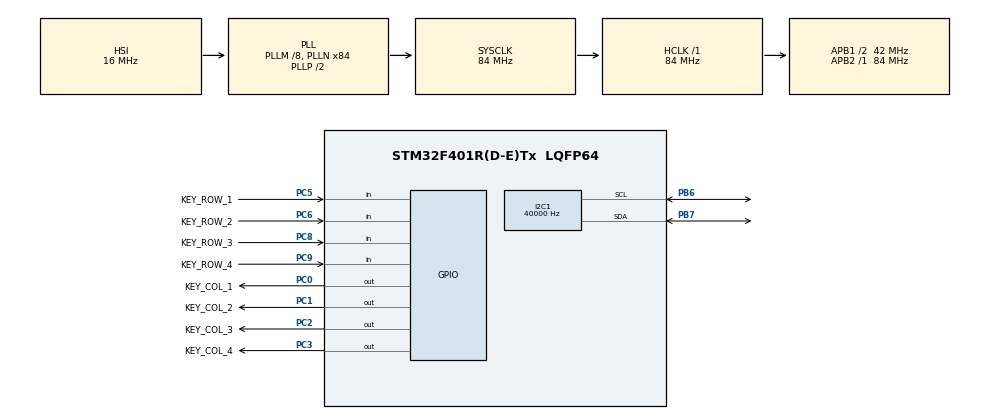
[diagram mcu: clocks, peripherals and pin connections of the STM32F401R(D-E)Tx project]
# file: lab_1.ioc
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I2C1.ClockSpeed=40000
Mcu.Family=STM32F4
Mcu.Name=STM32F401R(D-E)Tx
Mcu.Package=LQFP64
NVIC.PriorityGroup=NVIC_PRIORITYGROUP_4
PA13.Mode=Trace_Asynchronous_SW
PA13.Signal=SYS_JTMS-SWDIO
PA14.Mode=Trace_Asynchronous_SW
PA14.Signal=SYS_JTCK-SWCLK
PB3.Mode=Trace_Asynchronous_SW
PB3.Signal=SYS_JTDO-SWO
PB6.Mode=I2C
PB6.Signal=I2C1_SCL
PB7.Mode=I2C
PB7.Signal=I2C1_SDA
PC0.GPIO_Label=KEY_COL_1
PC0.Signal=GPIO_Output
PC1.GPIO_Label=KEY_COL_2
PC1.Signal=GPIO_Output
PC2.GPIO_Label=KEY_COL_3
PC2.Signal=GPIO_Output
PC3.GPIO_Label=KEY_COL_4
PC3.Signal=GPIO_Output
PC5.GPIO_Label=KEY_ROW_1
PC5.GPIO_PuPd=GPIO_PULLUP
PC5.Signal=GPIO_Input
PC6.GPIO_Label=KEY_ROW_2
PC6.GPIO_PuPd=GPIO_PULLUP
PC6.Signal=GPIO_Input
PC8.GPIO_Label=KEY_ROW_3
PC8.GPIO_PuPd=GPIO_PULLUP
PC8.Signal=GPIO_Input
PC9.GPIO_Label=KEY_ROW_4
PC9.GPIO_PuPd=GPIO_PULLUP
PC9.Signal=GPIO_Input
PH0\ -\ OSC_IN.Mode=HSE-External-Oscillator
PH0\ -\ OSC_IN.Signal=RCC_OSC_IN
PH1\ -\ OSC_OUT.Mode=HSE-External-Oscillator
PH1\ -\ OSC_OUT.Signal=RCC_OSC_OUT
ProjectManager.HeapSize=0x200
ProjectManager.StackSize=0x400
ProjectManager.TargetToolchain=STM32CubeIDE
RCC.48MHZClocksFreq_Value=42000000
RCC.AHBFreq_Value=84000000
RCC.APB1CLKDivider=RCC_HCLK_DIV2
RCC.APB1Freq_Value=42000000
RCC.APB1TimFreq_Value=84000000
RCC.APB2Freq_Value=84000000
RCC.APB2TimFreq_Value=84000000
RCC.CortexFreq_Value=84000000
RCC.HCLKFreq_Value=84000000
RCC.HSE_VALUE=16000000
RCC.HSI_VALUE=16000000
RCC.LSE_VALUE=32768
RCC.PLLM=8
RCC.PLLN=84
RCC.SYSCLKFreq_VALUE=84000000
RCC.SYSCLKSource=RCC_SYSCLKSOURCE_PLLCLK
RCC.VCOOutputFreq_Value=168000000
board=custom

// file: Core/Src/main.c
/* USER CODE BEGIN Header */
/**
 ******************************************************************************
 * @file           : main.c
 * @brief          : Main program body
 ******************************************************************************
 * @attention
 *
 * Copyright (c) 2026 STMicroelectronics.
 * All rights reserved.
 *
 * This software is licensed under terms that can be found in the LICENSE file
 * in the root directory of this software component.
 * If no LICENSE file comes with this software, it is provided AS-IS.
 *
 ******************************************************************************
 */
/* USER CODE END Header */
#include "main.h"

/* USER CODE BEGIN Includes */
#include<stdio.h>
#include "ssd1306.h"
#include "ssd1306_tests.h"
#include "ssd1306_fonts.h"
/* USER CODE END Includes */

I2C_HandleTypeDef hi2c1;

void SystemClock_Config(void);
static void MX_GPIO_Init(void);
static void MX_I2C1_Init(void);

int main(void)
{

  /* USER CODE BEGIN 1 */
	char keypadMap[4][4] = {
			{'1','2','3','A'},
			{'4','5','6','B'},
			{'7','8','9','C'},
			{'*','0','#','D'}
	};

	void updatetRowsPinState(GPIO_PinState *rows) {
	    rows[0] = HAL_GPIO_ReadPin(KEY_ROW_1_GPIO_Port, KEY_ROW_1_Pin);
	    rows[1] = HAL_GPIO_ReadPin(KEY_ROW_2_GPIO_Port, KEY_ROW_2_Pin);
	    rows[2] = HAL_GPIO_ReadPin(KEY_ROW_3_GPIO_Port, KEY_ROW_3_Pin);
	    rows[3] = HAL_GPIO_ReadPin(KEY_ROW_4_GPIO_Port, KEY_ROW_4_Pin);
	}

	void readKeypad(void) {
	    char keypadMap[4][4] = {
	        {'1', '2', '3', 'A'},
	        {'4', '5', '6', 'B'},
	        {'7', '8', '9', 'C'},
	        {'*', '0', '#', 'D'}
	    };

	    GPIO_TypeDef* colPorts[4] = { KEY_COL_1_GPIO_Port, KEY_COL_2_GPIO_Port, KEY_COL_3_GPIO_Port, KEY_COL_4_GPIO_Port };
	    uint16_t colPins[4]     = { KEY_COL_1_Pin, KEY_COL_2_Pin, KEY_COL_3_Pin, KEY_COL_4_Pin };

	    GPIO_TypeDef* rowPorts[4] = { KEY_ROW_2_GPIO_Port, KEY_ROW_3_GPIO_Port, KEY_ROW_4_GPIO_Port, KEY_ROW_1_GPIO_Port };
	    uint16_t rowPins[4]     = { KEY_ROW_2_Pin, KEY_ROW_3_Pin, KEY_ROW_4_Pin, KEY_ROW_1_Pin };

	    for (uint8_t i = 0; i < 4; i++) {
	        HAL_GPIO_WritePin(colPorts[i], colPins[i], GPIO_PIN_SET);
	    }

	    // col scan
	    for (uint8_t c = 0; c < 4; c++) {
	        HAL_GPIO_WritePin(colPorts[c], colPins[c], GPIO_PIN_RESET);

	        for (uint8_t r = 0; r < 4; r++) {
	            if (HAL_GPIO_ReadPin(rowPorts[r], rowPins[r]) == GPIO_PIN_RESET) {
	                //col back to 1
	                HAL_GPIO_WritePin(colPorts[c], colPins[c], GPIO_PIN_SET);
					ssd1306_Fill(Black);

					ssd1306_SetCursor(0, 0);

					ssd1306_WriteChar(keypadMap[r][c], Font_16x24, White);

					ssd1306_UpdateScreen();
	            }
	        }

	        //back to 1
	        HAL_GPIO_WritePin(colPorts[c], colPins[c], GPIO_PIN_SET);
	    }
	}

  /* USER CODE END 1 */

  /* MCU Configuration--------------------------------------------------------*/

  /* Reset of all peripherals, Initializes the Flash interface and the Systick. */
  HAL_Init();

  /* Configure the system clock */
  SystemClock_Config();

  /* Initialize all configured peripherals */
  MX_GPIO_Init();
  MX_I2C1_Init();
  /* USER CODE BEGIN 2 */
	ssd1306_Init();
  /* USER CODE END 2 */

  /* Infinite loop */
	while (1) {
		readKeypad();
 		HAL_Delay(100);
	}
}

void SystemClock_Config(void)
{
  RCC_OscInitTypeDef RCC_OscInitStruct = {0};
  RCC_ClkInitTypeDef RCC_ClkInitStruct = {0};

  /** Configure the main internal regulator output voltage
  */
  __HAL_RCC_PWR_CLK_ENABLE();
  __HAL_PWR_VOLTAGESCALING_CONFIG(PWR_REGULATOR_VOLTAGE_SCALE2);

  /** Initializes the RCC Oscillators according to the specified parameters
  * in the RCC_OscInitTypeDef structure.
  */
  RCC_OscInitStruct.OscillatorType = RCC_OSCILLATORTYPE_HSI;
  RCC_OscInitStruct.HSIState = RCC_HSI_ON;
  RCC_OscInitStruct.HSICalibrationValue = RCC_HSICALIBRATION_DEFAULT;
  RCC_OscInitStruct.PLL.PLLState = RCC_PLL_ON;
  RCC_OscInitStruct.PLL.PLLSource = RCC_PLLSOURCE_HSI;
  RCC_OscInitStruct.PLL.PLLM = 8;
  RCC_OscInitStruct.PLL.PLLN = 84;
  RCC_OscInitStruct.PLL.PLLP = RCC_PLLP_DIV2;
  RCC_OscInitStruct.PLL.PLLQ = 4;
  if (HAL_RCC_OscConfig(&RCC_OscInitStruct) != HAL_OK)
  {
    Error_Handler();
  }

  /** Initializes the CPU, AHB and APB buses clocks
  */
  RCC_ClkInitStruct.ClockType = RCC_CLOCKTYPE_HCLK|RCC_CLOCKTYPE_SYSCLK
                              |RCC_CLOCKTYPE_PCLK1|RCC_CLOCKTYPE_PCLK2;
  RCC_ClkInitStruct.SYSCLKSource = RCC_SYSCLKSOURCE_PLLCLK;
  RCC_ClkInitStruct.AHBCLKDivider = RCC_SYSCLK_DIV1;
  RCC_ClkInitStruct.APB1CLKDivider = RCC_HCLK_DIV2;
  RCC_ClkInitStruct.APB2CLKDivider = RCC_HCLK_DIV1;

  if (HAL_RCC_ClockConfig(&RCC_ClkInitStruct, FLASH_LATENCY_2) != HAL_OK)
  {
    Error_Handler();
  }
}

static void MX_I2C1_Init(void)
{

  hi2c1.Instance = I2C1;
  hi2c1.Init.ClockSpeed = 40000;
  hi2c1.Init.DutyCycle = I2C_DUTYCYCLE_2;
  hi2c1.Init.OwnAddress1 = 0;
  hi2c1.Init.AddressingMode = I2C_ADDRESSINGMODE_7BIT;
  hi2c1.Init.DualAddressMode = I2C_DUALADDRESS_DISABLE;
  hi2c1.Init.OwnAddress2 = 0;
  hi2c1.Init.GeneralCallMode = I2C_GENERALCALL_DISABLE;
  hi2c1.Init.NoStretchMode = I2C_NOSTRETCH_DISABLE;
  if (HAL_I2C_Init(&hi2c1) != HAL_OK)
  {
    Error_Handler();
  }

}

static void MX_GPIO_Init(void)
{
  GPIO_InitTypeDef GPIO_InitStruct = {0};

  /* GPIO Ports Clock Enable */
  __HAL_RCC_GPIOH_CLK_ENABLE();
  __HAL_RCC_GPIOC_CLK_ENABLE();
  __HAL_RCC_GPIOA_CLK_ENABLE();
  __HAL_RCC_GPIOB_CLK_ENABLE();

  /*Configure GPIO pin Output Level */
  HAL_GPIO_WritePin(GPIOC, KEY_COL_1_Pin|KEY_COL_2_Pin|KEY_COL_3_Pin|KEY_COL_4_Pin, GPIO_PIN_RESET);

  /*Configure GPIO pins : KEY_COL_1_Pin KEY_COL_2_Pin KEY_COL_3_Pin KEY_COL_4_Pin */
  GPIO_InitStruct.Pin = KEY_COL_1_Pin|KEY_COL_2_Pin|KEY_COL_3_Pin|KEY_COL_4_Pin;
  GPIO_InitStruct.Mode = GPIO_MODE_OUTPUT_PP;
  GPIO_InitStruct.Pull = GPIO_NOPULL;
  GPIO_InitStruct.Speed = GPIO_SPEED_FREQ_LOW;
  HAL_GPIO_Init(GPIOC, &GPIO_InitStruct);

  /*Configure GPIO pins : KEY_ROW_1_Pin KEY_ROW_2_Pin KEY_ROW_3_Pin KEY_ROW_4_Pin */
  GPIO_InitStruct.Pin = KEY_ROW_1_Pin|KEY_ROW_2_Pin|KEY_ROW_3_Pin|KEY_ROW_4_Pin;
  GPIO_InitStruct.Mode = GPIO_MODE_INPUT;
  GPIO_InitStruct.Pull = GPIO_PULLUP;
  HAL_GPIO_Init(GPIOC, &GPIO_InitStruct);

}

/* USER CODE BEGIN 4 */
int _write(int file, char *ptr, int len) {
	(void) file;
	int DataIdx;

	for (DataIdx = 0; DataIdx < len; DataIdx++) {
		ITM_SendChar(*ptr++);
	}
	return len;
}
/* USER CODE END 4 */

void Error_Handler(void)
{
	__disable_irq();
	while (1) {
	}
}
